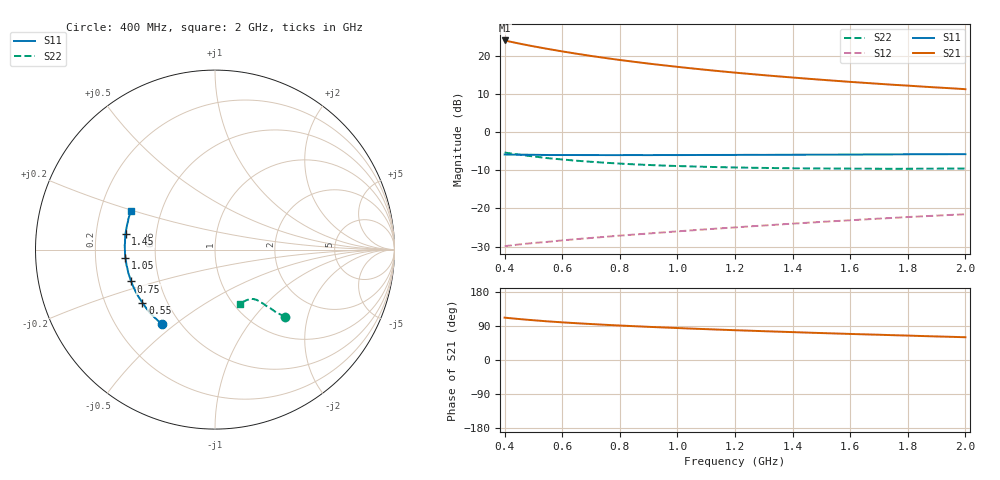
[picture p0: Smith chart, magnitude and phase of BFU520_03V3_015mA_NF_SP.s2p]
! Filename:  P:\Prog\Test\Noise\ATS_data\Testdata_Net\06 Compressed Noise after Statistics\BFU520_APG2013_37_A05_03p3V_015mA_NF_CM01_D.sf
! Date/Time: Fri 26/Apr/2013 14:13:18
! BFU520_APG2013_37_A05_03p3V_1to20mA_NF_CM01_Bias7_R.sf
! Noise Parameter Data File
! BFU520_APG2013_37_A05_03p3V_1to20mA_NF_CM01
! Date/time: Tue Apr 23 15:18:41 2013
! VAR V_out= 3.300000
! VAR I_out= 15.000000
! VAR V_in= 0.853400
! VAR I_in= 0.178600
! Device data file deembeded for feedlines and parallel
! Original file: \06 Compressed Noise after Statistics\BFU520_APG2013_37_A05_03p3V_015mA_NF_CM01_R.sf
! Feed-files: PR047V01_250413_Feed1.s2p, PR047V01_250413_Feed2.s2p
! Parallel-file: PR047V01_250413_Par.s2p
# MHz S MA R 50
!  Freq-MHz  S11-mag  S11-arg  S21-mag  S21-arg  S12-mag  S12-arg  S22-mag  S22-arg
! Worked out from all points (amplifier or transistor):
!   37 points, 400 MHz to 2 GHz, reference 50 ohm
!   highest |S21| = 24.0 dB at 400 MHz (marker M1)
!   |S21| within 3 dB of that: start of sweep to 611 MHz
!   unconditionally stable (mu >= 1): 1.346 GHz to end of sweep
!   at 500 MHz: K = 0.62, MSG = 25.8 dB, |S12| = -29.1 dB
!   at 1.1 GHz: K = 0.94, MSG = 20.9 dB, |S12| = -25.5 dB
!   at 2 GHz: K = 1.07, MAG = 14.7 dB, |S12| = -21.5 dB
!   lowest NFmin = 1.01 dB at 440 MHz
!   S11 on the Smith chart (normalised r, x): 400 MHz: 0.40, -0.45; 550 MHz: 0.36, -0.29; 750 MHz: 0.34, -0.16; 1.05 GHz: 0.33, -0.04; 1.45 GHz: 0.33, +0.08; 2 GHz: 0.33, +0.20
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400  0.5089 -125.8  15.88 111.8  0.032 51.6  0.5403 -43.7
433  0.5067 -130.3  14.94 109.3  0.03311 51.2  0.5178 -44.6
460  0.5056 -133.8  14.24 107.5  0.03398 51.1  0.5022 -45.2
500  0.504 -138.4  13.31 105.0  0.0352 50.9  0.48 -45.9
550  0.5011 -143.8  12.3 101.9  0.03648 51.0  0.4552 -46.5
600  0.5006 -148.2  11.42 99.4  0.0381 51.2  0.4376 -47.1
650  0.5006 -152.2  10.64 97.0  0.03958 51.5  0.4216 -47.8
700  0.4997 -155.7  9.957 94.9  0.04099 52.0  0.4082 -48.1
750  0.4996 -159.2  9.351 92.9  0.04245 52.4  0.3968 -48.6
800  0.4994 -162.1  8.817 91.0  0.04397 52.8  0.3867 -49.1
850  0.5002 -165.0  8.338 89.2  0.04543 53.3  0.3779 -49.4
900  0.4992 -167.8  7.904 87.5  0.0469 53.8  0.3709 -50.0
950  0.5006 -170.2  7.519 85.9  0.04846 54.2  0.3643 -50.4
1050  0.5007 -174.9  6.839 82.8  0.05159 55.0  0.3548 -51.5
1150  0.5018 -178.9  6.267 80.0  0.05479 55.8  0.347 -52.5
1200  0.5022 179.1  6.019 78.6  0.05639 56.1  0.3441 -53.1
1300  0.5028 175.5  5.572 76.0  0.05972 56.7  0.3393 -54.3
1450  0.5057 170.3  5.016 72.3  0.06483 57.4  0.3347 -56.3
1500  0.5066 168.9  4.853 71.1  0.06652 57.6  0.3338 -57.0
1600  0.5077 165.7  4.551 68.8  0.06991 57.8  0.3322 -58.5
1750  0.5103 161.5  4.169 65.5  0.07516 58.2  0.3306 -60.8
2000  0.514 155.1  3.651 60.1  0.08372 58.3  0.3328 -65.2
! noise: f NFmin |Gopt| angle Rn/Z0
400  1.114  0.143  177.2  0.1003
460  1.012  0.2112  -173.3  0.0794
600  1.088  0.1615  -166.9  0.1023
800  1.092  0.2052  -168.7  0.0849
1000  1.127  0.219  -166  0.0831
1200  1.153  0.2317  -163.3  0.0853
1400  1.172  0.2421  -162.5  0.0857
1600  1.173  0.2563  -158.2  0.0893
1800  1.221  0.261  -156.1  0.0851
2000  1.275  0.2742  -150.5  0.0984
